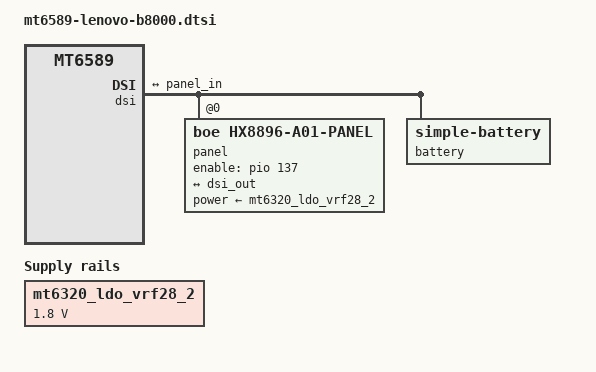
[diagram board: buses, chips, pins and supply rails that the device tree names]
// SPDX-License-Identifier: (GPL-2.0-only OR BSD-2-Clause)
/*
 * Copyright (c) 2026 Akari Tsuyukusa <akkun11.open@gmail.com>
 */

#include "mt6589-lenovo-blade.dtsi"


&pio {
	panel_pins: panel-pins {
		pins_power_en {
			pinmux = <MT6589_GPIO137__FUNC_GPIO137>;
		};
	};
};

&mt6320_ldo_vrf28_2 {
	regulator-min-microvolt = <1800000>;
	regulator-max-microvolt = <1800000>;
};

&dsi {
	#address-cells = <1>;
	#size-cells = <0>;
	status = "okay";

	panel@0 {
		compatible = "boe,hx8896-a01-panel";
		reg = <0>;
		power-supply = <&mt6320_ldo_vrf28_2>;
		enable-gpios = <&pio 137 GPIO_ACTIVE_HIGH>;
		pinctrl-names = "default";
		pinctrl-0 = <&panel_pins>;

		port {
			panel_in: endpoint {
				remote-endpoint = <&dsi_out>;
			};
		};
	};

	/*
	panel@0 {
		compatible = "innolux,hx8896-a01-panel";
		reg = <0>;
		power-supply = <&mt6320_ldo_vrf28_2>;
		enable-gpios = <&pio 137 GPIO_ACTIVE_HIGH>;
		pinctrl-names = "default";
		pinctrl-0 = <&panel_pins>;

		port {
			panel_in: endpoint {
				remote-endpoint = <&dsi_out>;
			};
		};
	};
	*/

	port {
		dsi_out: endpoint {
			remote-endpoint = <&panel_in>;
		};
	};

	battery: battery {
		compatible = "simple-battery";
		device-chemistry = "lithium-ion-polymer";

		charge-full-design-microamp-hours = <9000000>;
		energy-full-design-microwatt-hours = <33750000>;

		/*
		 * Stock fuel-gauge voltage/SOC table uses 3400mV as 0%.
		 * This is a vendor software threshold, not a proven
		 * physical cell absolute minimum voltage.
		 */
		voltage-min-design-microvolt = <3400000>;

		/*
		 * Full-charge/design maximum voltage.  The stock BQ24196
		 * configuration programs VREG to 4.352V.
		 */
		voltage-max-design-microvolt = <4352000>;

		/* BQ24196 stock configuration. */
		precharge-current-microamp = <512000>;
		charge-term-current-microamp = <256000>;

		constant-charge-voltage-max-microvolt = <4352000>;
	};
};

&bq27541 {
	monitored-battery = <&battery>;
};

&bq24196 {
	monitored-battery = <&battery>;
};
